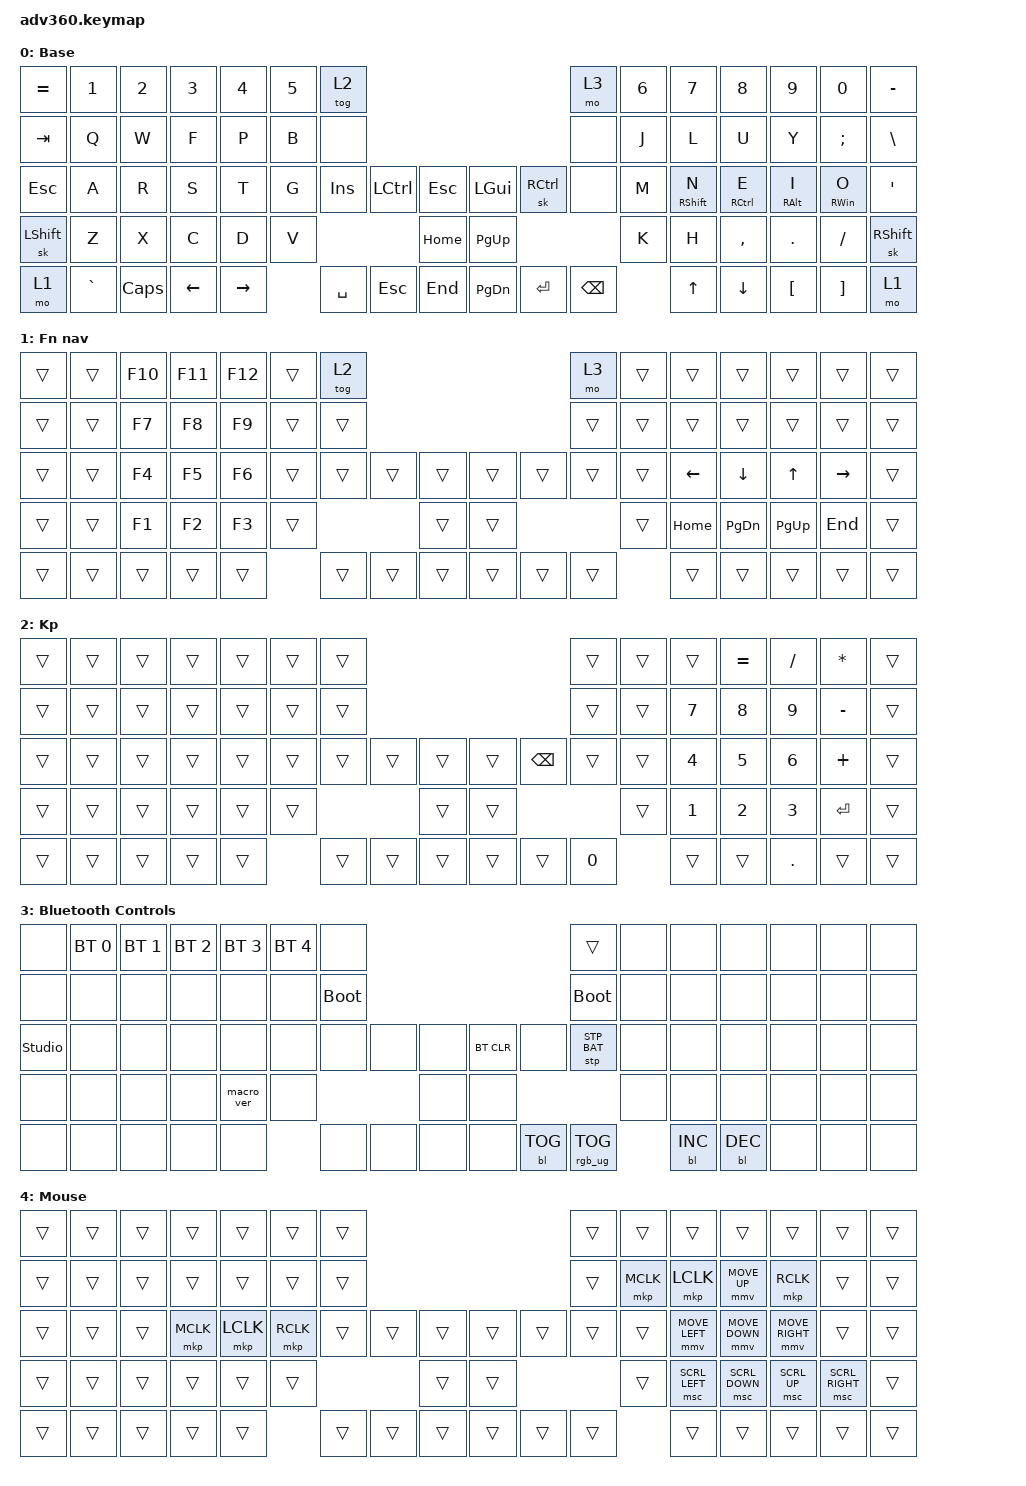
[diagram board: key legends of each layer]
#include <dt-bindings/zmk/stp.h>
#include <dt-bindings/zmk/mouse.h>

// override default scroll and mouse speed

#define ZMK_POINTING_DEFAULT_SCRL_VAL 40
#define ZMK_POINTING_DEFAULT_MOVE_VAL 1200

#include <behaviors.dtsi>
#include <dt-bindings/zmk/backlight.h>
#include <dt-bindings/zmk/bt.h>
#include <dt-bindings/zmk/keys.h>
#include <dt-bindings/zmk/pointing.h>
#include <dt-bindings/zmk/rgb.h>

&sk {
};

/ {
    behaviors {
        #include "macros.dtsi"
      #include "version.dtsi"

        hm: homerow_mods {
            compatible = "zmk,behavior-hold-tap";
            label = "HOMEROW_MODS";
            #binding-cells = <2>;
            tapping-term-ms = <200>;
            quick_tap_ms = <175>;
            flavor = "tap-preferred";
            bindings = <&kp>, <&kp>;
        };
    };

    keymap {
        compatible = "zmk,keymap";

        default_layer {
            display-name = "Base";
            bindings = <
&kp EQUAL  &kp N1     &kp N2    &kp N3    &kp N4     &kp N5  &tog 2                                                             &mo 3          &kp N6  &kp N7             &kp N8          &kp N9            &kp N0             &kp MINUS
&kp TAB    &kp Q      &kp W     &kp F     &kp P      &kp B   &none                                                              &none          &kp J   &kp L              &kp U           &kp Y             &kp SEMICOLON      &kp BSLH
&kp ESC    &kp A      &kp R     &kp S     &kp T      &kp G   &kp INS    &kp LEFT_CONTROL  &kp ESCAPE      &kp LGUI   &sk RCTRL  &none          &kp M   &hm RIGHT_SHIFT N  &hm RCTRL E     &hm RALT I        &hm RWIN O         &kp SQT
&sk LSHFT  &kp Z      &kp X     &kp C     &kp D      &kp V                                &kp HOME        &kp PG_UP                            &kp K   &kp H              &kp COMMA       &kp DOT           &kp FSLH           &sk RSHFT
&mo 1      &kp GRAVE  &kp CAPS  &kp LEFT  &kp RIGHT          &kp SPACE  &kp ESCAPE        &kp END         &kp PG_DN  &kp ENTER  &kp BACKSPACE          &kp UP_ARROW       &kp DOWN_ARROW  &kp LEFT_BRACKET  &kp RIGHT_BRACKET  &mo 1
            >;
        };

        fn_nav {
            display-name = "Fn nav";
            bindings = <
&trans  &trans  &kp F10  &kp F11  &kp F12  &trans  &tog 2                                      &mo 3   &trans  &trans    &trans         &trans       &trans     &trans
&trans  &trans  &kp F7   &kp F8   &kp F9   &trans  &trans                                      &trans  &trans  &trans    &trans         &trans       &trans     &trans
&trans  &trans  &kp F4   &kp F5   &kp F6   &trans  &trans  &trans  &trans      &trans  &trans  &trans  &trans  &kp LEFT  &kp DOWN       &kp UP       &kp RIGHT  &trans
&trans  &trans  &kp F1   &kp F2   &kp F3   &trans                  &trans      &trans                  &trans  &kp HOME  &kp PAGE_DOWN  &kp PAGE_UP  &kp END    &trans
&trans  &trans  &trans   &trans   &trans           &trans  &trans  &trans      &trans  &trans  &trans          &trans    &trans         &trans       &trans     &trans
            >;
        };

        keypad {
            display-name = "Kp";
            bindings = <
&trans  &trans  &trans  &trans  &trans  &trans  &trans                                             &trans        &trans  &trans        &kp EQUAL     &kp SLASH     &kp ASTERISK  &trans
&trans  &trans  &trans  &trans  &trans  &trans  &trans                                             &trans        &trans  &kp N7        &kp NUMBER_8  &kp NUMBER_9  &kp MINUS     &trans
&trans  &trans  &trans  &trans  &trans  &trans  &trans  &trans  &trans      &trans  &kp BACKSPACE  &trans        &trans  &kp NUMBER_4  &kp N5        &kp NUMBER_6  &kp PLUS      &trans
&trans  &trans  &trans  &trans  &trans  &trans                  &trans      &trans                               &trans  &kp NUMBER_1  &kp NUMBER_2  &kp NUMBER_3  &kp ENTER     &trans
&trans  &trans  &trans  &trans  &trans          &trans  &trans  &trans      &trans  &trans         &kp NUMBER_0          &trans        &trans        &kp PERIOD    &trans        &trans
            >;
        };

        BT {
            display-name = "Bluetooth Controls";
            bindings = <
&none           &bt BT_SEL 0  &bt BT_SEL 1  &bt BT_SEL 2  &bt BT_SEL 3  &bt BT_SEL 4  &none                                                  &trans           &none  &none       &none       &none  &none  &none
&none           &none         &none         &none         &none         &none         &bootloader                                            &bootloader      &none  &none       &none       &none  &none  &none
&studio_unlock  &none         &none         &none         &none         &none         &none        &none  &none      &bt BT_CLR  &none       &stp STP_BAT     &none  &none       &none       &none  &none  &none
&none           &none         &none         &none         &macro_ver    &none                             &none      &none                                    &none  &none       &none       &none  &none  &none
&none           &none         &none         &none         &none                       &none        &none  &none      &none       &bl BL_TOG  &rgb_ug RGB_TOG         &bl BL_INC  &bl BL_DEC  &none  &none  &none
            >;
        };

        Mouse {
            bindings = <
&trans  &trans  &trans  &trans     &trans     &trans     &trans                                      &trans  &trans     &trans          &trans          &trans           &trans           &trans
&trans  &trans  &trans  &trans     &trans     &trans     &trans                                      &trans  &mkp MCLK  &mkp LCLK       &mmv MOVE_UP    &mkp RCLK        &trans           &trans
&trans  &trans  &trans  &mkp MCLK  &mkp LCLK  &mkp RCLK  &trans  &trans  &trans      &trans  &trans  &trans  &trans     &mmv MOVE_LEFT  &mmv MOVE_DOWN  &mmv MOVE_RIGHT  &trans           &trans
&trans  &trans  &trans  &trans     &trans     &trans                     &trans      &trans                  &trans     &msc SCRL_LEFT  &msc SCRL_DOWN  &msc SCRL_UP     &msc SCRL_RIGHT  &trans
&trans  &trans  &trans  &trans     &trans                &trans  &trans  &trans      &trans  &trans  &trans             &trans          &trans          &trans           &trans           &trans
            >;
        };
    };
};
